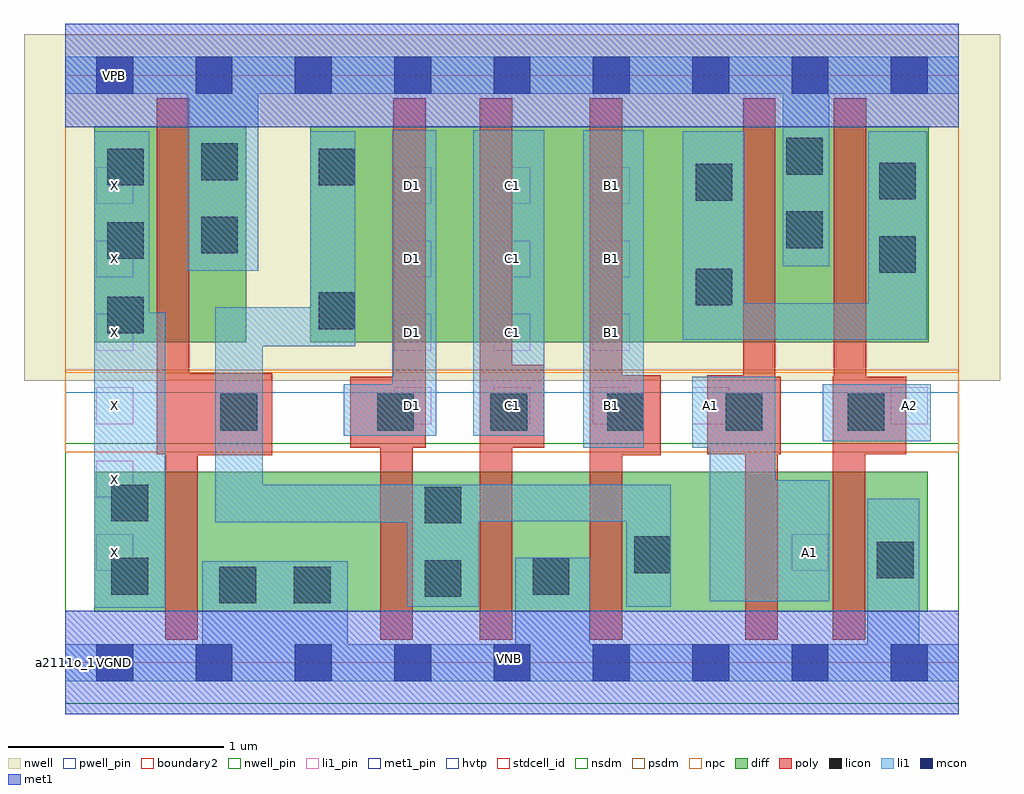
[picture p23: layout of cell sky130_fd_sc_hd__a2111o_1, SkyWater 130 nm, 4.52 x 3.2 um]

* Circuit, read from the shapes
.subckt sky130_fd_sc_hd__a2111o_1 A1 A2 B1 C1 D1 VGND VNB VPB VPWR X
XM1 VGND n1 X VNB sky130_fd_pr__nfet_01v8 w=0.65 l=0.15
XM2 n1 D1 VGND VNB sky130_fd_pr__nfet_01v8 w=0.65 l=0.15
XM3 VGND C1 n1 VNB sky130_fd_pr__nfet_01v8 w=0.65 l=0.15
XM4 n1 B1 VGND VNB sky130_fd_pr__nfet_01v8 w=0.65 l=0.15
XM5 n2 A1 n1 VNB sky130_fd_pr__nfet_01v8 w=0.65 l=0.15
XM6 VGND A2 n2 VNB sky130_fd_pr__nfet_01v8 w=0.65 l=0.15
XM7 VPWR n1 X VPB sky130_fd_pr__pfet_01v8_hvt w=1 l=0.15
XM8 n3 D1 n1 VPB sky130_fd_pr__pfet_01v8_hvt w=1 l=0.15
XM9 n4 C1 n3 VPB sky130_fd_pr__pfet_01v8_hvt w=1 l=0.15
XM10 n5 B1 n4 VPB sky130_fd_pr__pfet_01v8_hvt w=1 l=0.15
XM11 VPWR A1 n5 VPB sky130_fd_pr__pfet_01v8_hvt w=1 l=0.15
XM12 n5 A2 VPWR VPB sky130_fd_pr__pfet_01v8_hvt w=1 l=0.15
.ends

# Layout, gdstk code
import gdstk
lib = gdstk.Library(unit=1e-6, precision=1e-09)
def R(c, l, rs):  # rectangles x0, y0, x1, y1
    for r in rs: c.add(gdstk.rectangle(r[:2], r[2:], *l))
def A(c, l, x, y, w, h, nx, ny, dx, dy):  # array of equal rectangles
    R(c, l, [(x+i*dx, y+j*dy, x+i*dx+w, y+j*dy+h) for i in range(nx) for j in range(ny)])
def P(c, l, *ps):  # polygons
    for p in ps: c.add(gdstk.Polygon(p, *l))
nwell_pin = (64, 16)
nwell = (64, 20)
diff = (65, 20)
poly = (66, 20)
licon = (66, 44)
li1_pin = (67, 16)
li1 = (67, 20)
mcon = (67, 44)
met1_pin = (68, 16)
met1 = (68, 20)
hvtp = (78, 44)
stdcell_id = (81, 4)
nsdm = (93, 44)
psdm = (94, 20)
npc = (95, 20)
pwell_pin = (122, 16)
boundary2 = (236, 0)

sky130_fd_sc_hd__a2111o_ = lib.new_cell('sky130_fd_sc_hd__a2111o_1')
R(sky130_fd_sc_hd__a2111o_, nwell_pin, [(0.145,2.635,0.315,2.805)])
R(sky130_fd_sc_hd__a2111o_, nwell, [(-0.19,1.305,4.33,2.91)])
R(sky130_fd_sc_hd__a2111o_, diff, [(0.135,0.235,3.995,0.885), (0.135,1.485,0.84,2.485), (1.135,1.485,4,2.485)])
P(sky130_fd_sc_hd__a2111o_, poly, [(3.315,1.325),(3.29,1.325),(3.29,2.615),(3.14,2.615),(3.14,1.33),(2.975,1.33),(2.975,0.965),(3.15,0.965),(3.15,0.105),(3.3,0.105),(3.3,0.965),(3.315,0.965)],
  [(2.22,1.38),(2.07,1.38),(2.07,2.615),(1.92,2.615),(1.92,0.105),(2.07,0.105),(2.07,0.995),(2.22,0.995)],
  [(0.96,1.34),(0.575,1.34),(0.575,2.615),(0.425,2.615),(0.425,0.965),(0.465,0.965),(0.465,0.105),(0.615,0.105),(0.615,0.96),(0.96,0.96)],
  [(3.895,1.325),(3.71,1.325),(3.71,2.615),(3.56,2.615),(3.56,1.325),(3.555,1.325),(3.555,0.105),(3.705,0.105),(3.705,0.965),(3.895,0.965)],
  [(2.76,1.33),(2.58,1.33),(2.58,2.615),(2.43,2.615),(2.43,0.105),(2.58,0.105),(2.58,0.96),(2.76,0.96)],
  [(1.67,2.615),(1.52,2.615),(1.52,1.325),(1.32,1.325),(1.32,0.995),(1.46,0.995),(1.46,0.105),(1.61,0.105),(1.61,0.995),(1.67,0.995)])
R(sky130_fd_sc_hd__a2111o_, licon, [(0.715,0.275,0.885,0.445), (1.06,0.275,1.23,0.445), (1.665,0.305,1.835,0.475), (0.215,0.315,0.385,0.485), (2.165,0.315,2.335,0.485), (3.76,0.39,3.93,0.56), (2.635,0.415,2.805,0.585), (1.665,0.645,1.835,0.815), (0.215,0.655,0.385,0.825), (0.72,1.075,0.89,1.245), (1.445,1.075,1.615,1.245), (1.97,1.075,2.14,1.245), (2.51,1.075,2.68,1.245), (3.06,1.075,3.23,1.245), (3.625,1.075,3.795,1.245), (0.195,1.525,0.365,1.695), (1.175,1.545,1.345,1.715), (2.92,1.655,3.09,1.825), (3.77,1.805,3.94,1.975), (0.195,1.87,0.365,2.04), (0.63,1.895,0.8,2.065), (3.34,1.92,3.51,2.09), (2.92,2.14,3.09,2.31), (3.77,2.145,3.94,2.315), (0.195,2.21,0.365,2.38), (1.175,2.21,1.345,2.38), (0.63,2.235,0.8,2.405), (3.34,2.26,3.51,2.43)])
A(sky130_fd_sc_hd__a2111o_, li1_pin, 0.145, 0.425, 0.17, 0.17, 1, 6, 0, 0.34)
A(sky130_fd_sc_hd__a2111o_, li1_pin, 1.525, 1.105, 0.17, 0.17, 4, 1, 0.46, 0)
A(sky130_fd_sc_hd__a2111o_, li1_pin, 1.525, 1.445, 0.17, 0.17, 3, 3, 0.46, 0.34)
R(sky130_fd_sc_hd__a2111o_, li1_pin, [(3.365,0.425,3.535,0.595), (3.825,1.105,3.995,1.275)])
R(sky130_fd_sc_hd__a2111o_, li1, [(2.4,0.995,2.68,2.465), (3.51,1.025,4.01,1.29), (1.89,1.05,2.22,2.465)])
P(sky130_fd_sc_hd__a2111o_, li1, [(3.99,2.46),(3.72,2.46),(3.72,1.665),(3.145,1.665),(3.145,2.46),(2.86,2.46),(2.86,1.495),(3.99,1.495)],
  [(3.54,0.845),(3.29,0.845),(3.29,1.325),(2.905,1.325),(2.905,0.995),(2.985,0.995),(2.985,0.285),(3.54,0.285)],
  [(2.805,0.825),(0.915,0.825),(0.915,1.465),(1.345,1.465),(1.345,2.46),(1.135,2.46),(1.135,1.645),(0.695,1.645),(0.695,0.65),(1.585,0.65),(1.585,0.26),(1.915,0.26),(1.915,0.655),(2.6,0.655),(2.6,0.26),(2.805,0.26)],
  [(4.14,0.085),(3.955,0.085),(3.955,0.76),(3.715,0.76),(3.715,0.085),(2.43,0.085),(2.43,0.485),(2.085,0.485),(2.085,0.085),(1.31,0.085),(1.31,0.47),(0.635,0.47),(0.635,0.085),(0,0.085),(0,-0.085),(4.14,-0.085)],
  [(4.14,2.805),(0,2.805),(0,2.635),(0.565,2.635),(0.565,1.815),(0.895,1.815),(0.895,2.635),(3.325,2.635),(3.325,1.835),(3.54,1.835),(3.54,2.635),(4.14,2.635)],
  [(0.465,1.62),(0.39,1.62),(0.39,2.46),(0.135,2.46),(0.135,0.255),(0.465,0.255)],
  [(1.29,1.05),(1.29,1.29),(1.515,1.29),(1.515,2.465),(1.72,2.465),(1.72,1.05)])
A(sky130_fd_sc_hd__a2111o_, mcon, 0.145, -0.085, 0.17, 0.17, 9, 2, 0.46, 2.72)
R(sky130_fd_sc_hd__a2111o_, met1_pin, [(0.145,-0.085,0.315,0.085), (0.145,2.635,0.315,2.805)])
R(sky130_fd_sc_hd__a2111o_, hvtp, [(0,1.25,4.14,2.72)])
R(sky130_fd_sc_hd__a2111o_, stdcell_id, [(0,0,4.14,2.72)])
R(sky130_fd_sc_hd__a2111o_, nsdm, [(0,-0.19,4.14,1.015)])
R(sky130_fd_sc_hd__a2111o_, psdm, [(0,1.355,4.14,2.91)])
R(sky130_fd_sc_hd__a2111o_, npc, [(0,0.975,4.14,1.345)])
R(sky130_fd_sc_hd__a2111o_, pwell_pin, [(0.145,-0.085,0.315,0.085), (1.985,-0.085,2.155,0.085)])
R(sky130_fd_sc_hd__a2111o_, boundary2, [(0,0,4.14,2.72)])
sky130_fd_sc_hd__a2111o_.add(gdstk.FlexPath([(0,2.72),(4.14,2.72)], 0.48, ends="flush", simple_path=True, layer=68, datatype=20))  # met1
sky130_fd_sc_hd__a2111o_.add(gdstk.FlexPath([(0,0),(4.14,0)], 0.48, ends="flush", simple_path=True, layer=68, datatype=20))  # met1
sky130_fd_sc_hd__a2111o_.add(gdstk.Label('VPB', (0.23,2.72), layer=64, texttype=5))
sky130_fd_sc_hd__a2111o_.add(gdstk.Label('VGND', (0.23,0), layer=68, texttype=5))
sky130_fd_sc_hd__a2111o_.add(gdstk.Label('VPWR', (0.23,2.72), layer=68, texttype=5))
sky130_fd_sc_hd__a2111o_.add(gdstk.Label('VNB', (2.06,0.02), layer=64, texttype=59))
sky130_fd_sc_hd__a2111o_.add(gdstk.Label('VNB', (0.23,0), layer=64, texttype=59))
sky130_fd_sc_hd__a2111o_.add(gdstk.Label('B1', (2.53,1.19), layer=67, texttype=5))
sky130_fd_sc_hd__a2111o_.add(gdstk.Label('X', (0.23,2.21), layer=67, texttype=5))
sky130_fd_sc_hd__a2111o_.add(gdstk.Label('D1', (1.61,1.19), layer=67, texttype=5))
sky130_fd_sc_hd__a2111o_.add(gdstk.Label('X', (0.23,0.85), layer=67, texttype=5))
sky130_fd_sc_hd__a2111o_.add(gdstk.Label('B1', (2.53,1.53), layer=67, texttype=5))
sky130_fd_sc_hd__a2111o_.add(gdstk.Label('A1', (3.45,0.51), layer=67, texttype=5))
sky130_fd_sc_hd__a2111o_.add(gdstk.Label('A2', (3.91,1.19), layer=67, texttype=5))
sky130_fd_sc_hd__a2111o_.add(gdstk.Label('X', (0.23,1.87), layer=67, texttype=5))
sky130_fd_sc_hd__a2111o_.add(gdstk.Label('X', (0.23,1.53), layer=67, texttype=5))
sky130_fd_sc_hd__a2111o_.add(gdstk.Label('X', (0.23,1.19), layer=67, texttype=5))
sky130_fd_sc_hd__a2111o_.add(gdstk.Label('X', (0.23,0.51), layer=67, texttype=5))
sky130_fd_sc_hd__a2111o_.add(gdstk.Label('C1', (2.07,1.87), layer=67, texttype=5))
sky130_fd_sc_hd__a2111o_.add(gdstk.Label('D1', (1.61,1.53), layer=67, texttype=5))
sky130_fd_sc_hd__a2111o_.add(gdstk.Label('D1', (1.61,1.87), layer=67, texttype=5))
sky130_fd_sc_hd__a2111o_.add(gdstk.Label('D1', (1.61,2.21), layer=67, texttype=5))
sky130_fd_sc_hd__a2111o_.add(gdstk.Label('C1', (2.07,1.53), layer=67, texttype=5))
sky130_fd_sc_hd__a2111o_.add(gdstk.Label('C1', (2.07,1.19), layer=67, texttype=5))
sky130_fd_sc_hd__a2111o_.add(gdstk.Label('C1', (2.07,2.21), layer=67, texttype=5))
sky130_fd_sc_hd__a2111o_.add(gdstk.Label('B1', (2.53,1.87), layer=67, texttype=5))
sky130_fd_sc_hd__a2111o_.add(gdstk.Label('B1', (2.53,2.21), layer=67, texttype=5))
sky130_fd_sc_hd__a2111o_.add(gdstk.Label('A1', (2.99,1.19), layer=67, texttype=5))
sky130_fd_sc_hd__a2111o_.add(gdstk.Label('a2111o_1', (0,0), layer=83, texttype=44))

lib.write_gds('sky130_fd_sc_hd__a2111o_1.gds')
